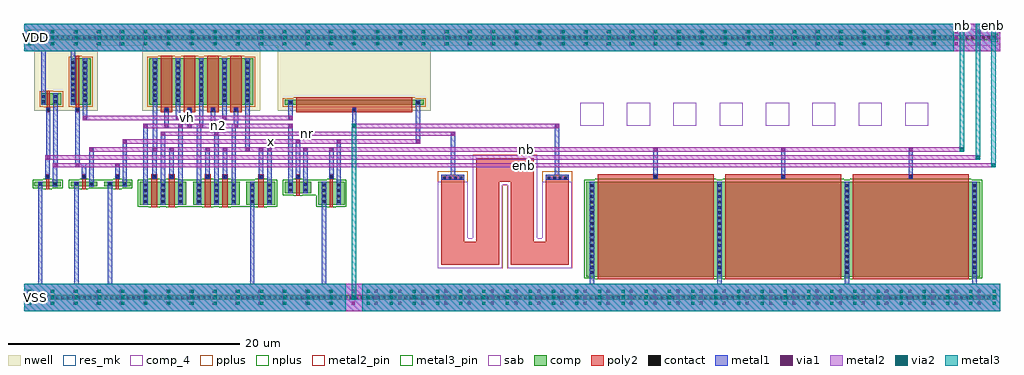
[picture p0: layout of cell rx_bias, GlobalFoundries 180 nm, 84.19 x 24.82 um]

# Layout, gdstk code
import gdstk
lib = gdstk.Library(unit=1e-6, precision=1e-09)
def R(c, l, rs):  # rectangles x0, y0, x1, y1
    for r in rs: c.add(gdstk.rectangle(r[:2], r[2:], *l))
def A(c, l, x, y, w, h, nx, ny, dx, dy):  # array of equal rectangles
    R(c, l, [(x+i*dx, y+j*dy, x+i*dx+w, y+j*dy+h) for i in range(nx) for j in range(ny)])
nwell = (21, 0)
comp = (22, 0)
comp_4 = (22, 4)
poly2 = (30, 0)
pplus = (31, 0)
nplus = (32, 0)
contact = (33, 0)
metal1 = (34, 0)
via1 = (35, 0)
metal2 = (36, 0)
metal2_pin = (36, 10)
via2 = (38, 0)
metal3 = (42, 0)
metal3_pin = (42, 10)
sab = (49, 0)
res_mk = (110, 5)

rx_bias = lib.new_cell('rx_bias')
R(rx_bias, nwell, [(0.9,14.885,6.36,20.515), (10.19,14.885,20.39,20.515), (21.89,14.885,35.09,20.515), (0.15,20.515,84.04,21.915)])
R(rx_bias, comp, [(0.3,-1.39,83.89,-1.01), (48.49,0.6,82.49,8.79), (9.99,6.79,13.99,8.79), (14.59,6.79,18.59,8.79), (19.19,6.79,21.69,8.79), (25.37,6.79,27.65,8.79), (22.49,7.79,24.77,8.79), (0.9,8.37,3.18,8.79), (4.03,8.37,6.31,8.79), (6.91,8.37,9.19,8.79), (1.5,15.415,3.23,16.415), (4.03,15.415,5.76,19.415), (10.79,15.415,19.79,19.415), (22.49,15.415,34.49,15.835), (0.3,21.025,83.89,21.405)])
A(rx_bias, comp_4, 48, 13.6, 2, 2, 8, 1, 4, 0)
A(rx_bias, poly2, 49.49, 0.37, 10, 9.05, 3, 1, 11, 0)
A(rx_bias, poly2, 11.79, 14.785, 1, 4.86, 4, 1, 2, 0)
R(rx_bias, poly2, [(35.99,1.61,40.99,3.61), (41.99,1.61,46.99,3.61), (35.99,3.61,37.99,9.4), (38.99,3.61,40.99,8.79), (41.99,3.61,43.99,8.79), (44.99,3.61,46.99,9.4), (10.99,6.56,11.49,9.42), (12.49,6.56,12.99,9.42), (15.59,6.56,16.09,9.42), (17.09,6.56,17.59,9.42), (20.19,6.56,20.69,9.42), (26.37,6.56,26.65,9.05), (23.49,7.56,23.77,9.05), (1.9,8.14,2.18,9.05), (5.03,8.14,5.31,9.05), (7.91,8.14,8.19,9.05), (38.99,8.79,43.99,10.79), (1.855,9.05,2.225,9.42), (4.985,9.05,5.355,9.42), (7.865,9.05,8.235,9.42), (23.445,9.05,23.815,9.42), (26.325,9.05,26.695,9.42), (1.905,14.785,2.275,15.155), (4.435,14.785,4.805,15.155), (23.49,14.785,33.49,16.065), (1.95,15.155,2.23,16.645), (4.48,15.155,4.76,19.645)])
A(rx_bias, pplus, 11.56, 15.185, 1.46, 0.07, 4, 2, 2, 4.39)
R(rx_bias, pplus, [(0.28,-1.41,83.91,-0.99), (35.69,1.31,41.29,3.91), (41.69,1.31,47.29,3.91), (35.69,3.91,38.29,9.7), (38.69,3.91,41.29,8.49), (41.69,3.91,44.29,8.49), (44.69,3.91,47.29,9.7), (38.69,8.49,44.29,11.09), (1.72,15.185,2.46,15.255), (4.25,15.185,4.99,15.255), (23.26,15.185,33.72,15.255), (1.34,15.255,3.39,16.575), (3.87,15.255,5.92,19.575), (10.63,15.255,19.95,19.575), (22.33,15.255,34.65,15.995), (23.26,15.995,33.72,16.065), (1.72,16.575,2.46,16.645), (4.25,19.575,4.99,19.645)])
A(rx_bias, nplus, 49.26, 0.37, 10.46, 0.07, 3, 2, 11, 8.58)
R(rx_bias, nplus, [(48.33,0.44,82.65,8.95), (10.76,6.56,11.72,6.63), (12.26,6.56,13.22,6.63), (15.36,6.56,16.32,6.63), (16.86,6.56,17.82,6.63), (19.96,6.56,20.92,6.63), (26.14,6.56,26.88,6.63), (9.83,6.63,21.85,8.95), (25.21,6.63,27.81,7.63), (23.26,7.56,24,7.63), (22.33,7.63,27.81,8.95), (1.67,8.14,2.41,8.21), (4.8,8.14,5.54,8.21), (7.68,8.14,8.42,8.21), (0.74,8.21,3.34,8.95), (3.87,8.21,9.35,8.95), (1.67,8.95,2.41,9.02), (4.8,8.95,5.54,9.02), (7.68,8.95,8.42,9.02), (10.76,8.95,11.72,9.02), (12.26,8.95,13.22,9.02), (15.36,8.95,16.32,9.02), (16.86,8.95,17.82,9.02), (19.96,8.95,20.92,9.02), (23.26,8.95,24,9.02), (26.14,8.95,26.88,9.02), (0.14,20.865,0.74,21.005), (83.45,20.865,84.05,21.005), (0.14,21.005,84.05,21.425), (0.14,21.425,0.74,21.565), (83.45,21.425,84.05,21.565)])
A(rx_bias, contact, 0.39, -1.31, 0.22, 0.22, 178, 2, 0.47, 22.415)
A(rx_bias, contact, 48.88, 0.825, 0.22, 0.22, 4, 17, 11, 0.47)
A(rx_bias, contact, 10.38, 6.975, 0.22, 0.22, 3, 4, 1.5, 0.47)
A(rx_bias, contact, 14.98, 6.975, 0.22, 0.22, 3, 4, 1.5, 0.47)
A(rx_bias, contact, 19.58, 6.975, 0.22, 0.22, 1, 4, 0, 0.47)
A(rx_bias, contact, 21.08, 6.975, 0.22, 0.22, 1, 4, 0, 0.47)
A(rx_bias, contact, 25.76, 6.975, 0.22, 0.22, 1, 4, 0, 0.47)
A(rx_bias, contact, 27.04, 6.975, 0.22, 0.22, 1, 4, 0, 0.47)
A(rx_bias, contact, 36.175, 9.01, 0.22, 0.22, 4, 1, 0.47, 0)
A(rx_bias, contact, 45.175, 9.01, 0.22, 0.22, 4, 1, 0.47, 0)
A(rx_bias, contact, 54.38, 9.125, 0.22, 0.22, 3, 1, 11, 0)
A(rx_bias, contact, 12.18, 14.86, 0.22, 0.22, 4, 1, 2, 0)
A(rx_bias, contact, 4.105, 15.66, 0.22, 0.22, 1, 8, 0, 0.47)
A(rx_bias, contact, 5.15, 15.66, 0.22, 0.22, 1, 8, 0, 0.47)
A(rx_bias, contact, 11.18, 15.66, 0.22, 0.22, 5, 8, 2, 0.47)
R(rx_bias, contact, [(22.88,7.945,23.1,8.165), (24.16,7.945,24.38,8.165), (22.88,8.415,23.1,8.635), (24.16,8.415,24.38,8.635), (1.29,8.47,1.51,8.69), (2.57,8.47,2.79,8.69), (4.42,8.47,4.64,8.69), (5.7,8.47,5.92,8.69), (7.3,8.47,7.52,8.69), (8.58,8.47,8.8,8.69), (1.93,9.125,2.15,9.345), (5.06,9.125,5.28,9.345), (7.94,9.125,8.16,9.345), (11.13,9.125,11.35,9.345), (12.63,9.125,12.85,9.345), (15.73,9.125,15.95,9.345), (17.23,9.125,17.45,9.345), (20.33,9.125,20.55,9.345), (23.52,9.125,23.74,9.345), (26.4,9.125,26.62,9.345), (1.98,14.86,2.2,15.08), (4.51,14.86,4.73,15.08), (28.38,14.86,28.6,15.08), (22.88,15.515,23.1,15.735), (33.88,15.515,34.1,15.735), (1.575,15.57,1.795,15.79), (2.62,15.57,2.84,15.79), (1.575,16.04,1.795,16.26), (2.62,16.04,2.84,16.26)])
A(rx_bias, metal1, 48.8, 0, 0.38, 8.795, 4, 1, 11, 0)
A(rx_bias, metal1, 54.3, 9.045, 0.38, 2.705, 3, 1, 11, 0)
A(rx_bias, metal1, 12.1, 13.41, 0.38, 1.75, 3, 1, 2, 0)
R(rx_bias, metal1, [(0,-2.4,84.19,0), (1.21,0,1.59,8.795), (4.34,0,4.72,8.795), (7.22,0,7.6,8.795), (19.5,0,19.88,8.795), (25.68,0,26.06,8.795), (10.3,6.785,10.68,13.79), (11.8,6.785,12.18,13.11), (13.3,6.785,13.68,13.79), (14.9,6.785,15.28,13.41), (16.4,6.785,16.78,13.11), (17.9,6.785,18.28,13.41), (21,6.785,21.38,11.75), (26.96,6.785,27.34,12.43), (22.8,7.785,23.18,13.79), (24.08,7.785,24.46,11.75), (2.49,8.365,2.87,10.01), (5.62,8.365,6,11.75), (8.5,8.365,8.88,12.43), (35.99,8.94,37.99,9.4), (44.99,8.94,46.99,9.4), (1.85,9.045,2.23,10.69), (4.98,9.045,5.36,10.01), (7.86,9.045,8.24,10.39), (11.05,9.045,11.43,11.37), (12.55,9.045,12.93,11.75), (15.65,9.045,16.03,11.75), (17.15,9.045,17.53,11.75), (20.25,9.045,20.63,11.75), (23.44,9.045,23.82,12.43), (26.32,9.045,26.7,11.75), (36.8,9.4,37.18,13.11), (45.8,9.4,46.18,13.79), (2.49,10.01,2.92,10.39), (4.43,10.01,5.36,10.39), (2.54,10.39,2.92,16.42), (4.43,10.39,4.81,15.16), (1.85,10.69,2.28,11.07), (1.9,11.07,2.28,15.16), (11.05,11.37,11.48,11.75), (19.1,11.37,19.48,19.42), (11.1,11.75,11.48,19.42), (33.8,12.05,34.18,15.84), (14.9,13.41,15.48,13.79), (17.9,13.41,18.48,13.79), (28.3,13.41,28.68,15.16), (15.1,13.79,15.48,19.42), (18.1,13.79,18.48,15.16), (5.07,14.09,5.45,19.42), (13.1,14.09,13.48,19.42), (17.1,14.09,17.48,19.42), (22.8,14.09,23.18,15.84), (1.495,15.41,1.875,20.015), (4.025,15.41,4.405,20.015), (0,20.015,84.19,22.415)])
A(rx_bias, via1, 0.27, -1.85, 0.26, 0.26, 42, 3, 2, 0.52)
A(rx_bias, via1, 54.36, 11.43, 0.26, 0.26, 3, 1, 11, 0)
A(rx_bias, via1, 14.16, 13.47, 0.26, 0.26, 3, 1, 1, 0)
A(rx_bias, via1, 0.27, 20.565, 0.26, 0.26, 42, 3, 2, 0.52)
R(rx_bias, via1, [(2.6,10.07,2.86,10.33), (4.49,10.07,4.75,10.33), (7.92,10.07,8.18,10.33), (1.96,10.75,2.22,11.01), (5.68,11.43,5.94,11.69), (11.16,11.43,11.42,11.69), (12.61,11.43,12.87,11.69), (15.71,11.43,15.97,11.69), (17.21,11.43,17.47,11.69), (19.16,11.43,19.42,11.69), (20.31,11.43,20.57,11.69), (21.06,11.43,21.32,11.69), (24.14,11.43,24.4,11.69), (26.38,11.43,26.64,11.69), (8.56,12.11,8.82,12.37), (23.5,12.11,23.76,12.37), (27.02,12.11,27.28,12.37), (33.86,12.11,34.12,12.37), (11.86,12.79,12.12,13.05), (16.46,12.79,16.72,13.05), (36.86,12.79,37.12,13.05), (10.36,13.47,10.62,13.73), (12.16,13.47,12.42,13.73), (13.36,13.47,13.62,13.73), (18.16,13.47,18.42,13.73), (22.86,13.47,23.12,13.73), (28.36,13.47,28.62,13.73), (45.86,13.47,46.12,13.73), (5.13,14.15,5.39,14.41), (13.16,14.15,13.42,14.41), (17.16,14.15,17.42,14.41), (22.86,14.15,23.12,14.41)])
R(rx_bias, metal2, [(0,-2.4,84.19,0), (2.49,10.01,83.83,10.39), (1.85,10.69,82.47,11.07), (5.62,11.37,81.11,11.75), (8.5,12.05,34.18,12.43), (11.8,12.73,37.18,13.11), (10.3,13.41,23.18,13.79), (28.285,13.41,46.18,13.79), (5.07,14.09,23.18,14.47), (0,20.015,84.19,22.415)])
R(rx_bias, metal2_pin, [(0.95,-1.25,1.05,-1.15), (0.95,21.165,1.05,21.265)])
A(rx_bias, via2, 0.37, -1.85, 0.26, 0.26, 14, 3, 2, 0.52)
A(rx_bias, via2, 29.545, -1.85, 0.26, 0.26, 28, 3, 2, 0.52)
A(rx_bias, via2, 0.37, 20.565, 0.26, 0.26, 40, 3, 2, 0.52)
R(rx_bias, via2, [(28.345,-1.33,28.605,-1.07), (83.51,10.07,83.77,10.33), (82.15,10.75,82.41,11.01), (80.79,11.43,81.05,11.69), (28.345,13.47,28.605,13.73)])
R(rx_bias, metal3, [(0,-2.4,27.775,0), (29.175,-2.4,84.19,0), (28.285,-1.39,28.665,13.79), (83.45,10.01,83.83,22.415), (82.09,10.69,82.47,22.415), (80.73,11.37,81.11,22.415), (0,20.015,80.22,22.415)])
A(rx_bias, metal3_pin, 80.87, 22.165, 0.1, 0.1, 3, 1, 1.36, 0)
R(rx_bias, sab, [(35.71,1.33,41.27,3.89), (41.71,1.33,47.27,3.89), (35.71,3.89,38.27,8.79), (38.71,3.89,41.27,8.51), (41.71,3.89,44.27,8.51), (44.71,3.89,47.27,8.79), (38.71,8.51,44.27,11.07)])
A(rx_bias, res_mk, 35.99, 3.61, 2, 5.18, 4, 1, 3, 0)
R(rx_bias, res_mk, [(35.99,1.61,40.99,3.61), (41.99,1.61,46.99,3.61), (38.99,8.79,43.99,10.79)])
rx_bias.add(gdstk.Label('enb', (43.16,10.2), layer=36, texttype=0))
rx_bias.add(gdstk.Label('en', (42.16,10.88), layer=36, texttype=0))
rx_bias.add(gdstk.Label('nb', (43.365,11.56), layer=36, texttype=0))
rx_bias.add(gdstk.Label('x', (21.34,12.24), layer=36, texttype=0))
rx_bias.add(gdstk.Label('nr', (24.49,12.92), layer=36, texttype=0))
rx_bias.add(gdstk.Label('n2', (16.74,13.6), layer=36, texttype=0))
rx_bias.add(gdstk.Label('vh', (14.125,14.28), layer=36, texttype=0))
rx_bias.add(gdstk.Label('nb', (80.92,22.215), layer=42, texttype=10))
rx_bias.add(gdstk.Label('en', (82.28,22.215), layer=42, texttype=10))
rx_bias.add(gdstk.Label('enb', (83.64,22.215), layer=42, texttype=10))
rx_bias.add(gdstk.Label('VSS', (1,-1.2), layer=36, texttype=10))
rx_bias.add(gdstk.Label('VDD', (1,21.215), layer=36, texttype=10))

lib.write_gds('rx_bias.gds')
